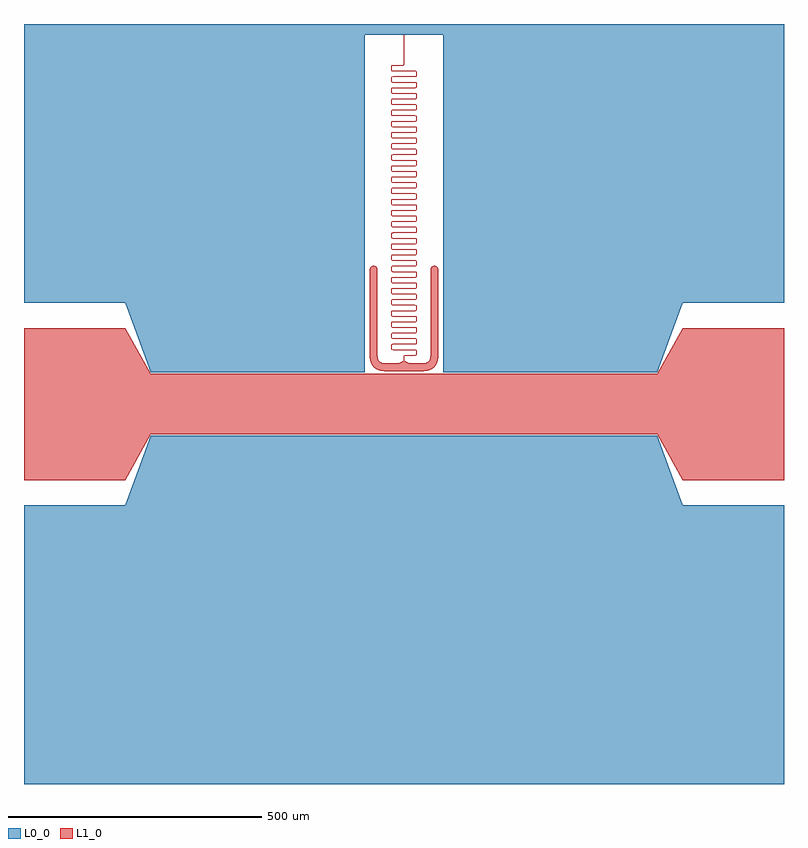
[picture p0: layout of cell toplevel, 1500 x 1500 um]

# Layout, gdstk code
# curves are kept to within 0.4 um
import gdstk
lib = gdstk.Library(unit=1e-6, precision=1e-09)
def P(c, l, *ps):  # polygons
    for p in ps: c.add(gdstk.Polygon(p, *l))
L0_0 = (0, 0)
L1_0 = (1, 0)

toplevel = lib.new_cell('toplevel')
P(toplevel, L0_0, [(77.5,729),(77.5,63),(500,63),(550,200),(750,200),(750,750),(-750,750),(-750,200),(-550,200),(-500,63),(-77.5,63),(-77.5,729)],
  [(750,-200),(550,-200),(500,-63),(-500,-63),(-550,-200),(-750,-200),(-750,-750),(750,-750)])
P(toplevel, L1_0, [(-60.327,272.493),(-63.17,271.797),(-65.53,270.067),(-67.048,267.565),(-67.5,265),(-67.466,96.294),(-66.361,86.299),(-63.309,78.269),(-59.261,72.96),(-54.07,69.101),(-47.508,66.466),(-39.74,65.199),(37.654,65.08),(46.853,66.295),(54.231,69.191),(59.678,73.38),(63.576,78.753),(66.164,85.484),(67.352,93.513),(67.5,265),(66.495,268.75),(63.17,271.797),(58.377,272.322),(54.47,270.067),(52.529,265.654),(52.486,97.498),(51.922,90.522),(50.334,85.8),(48.603,83.52),(46.053,81.837),(38.181,80.127),(-36.211,80.039),(-43.028,80.801),(-47.908,82.94),(-50.663,86.447),(-52.173,92.144),(-52.507,265.327),(-53.203,268.17),(-54.933,270.53),(-57.435,272.048)],
  [(0.5,85),(0.542,93.395),(0.892,94.54),(1.647,95.207),(3.309,95.498),(22.056,95.513),(23.416,95.743),(24.439,96.314),(25.209,97.449),(25.492,99.074),(25.462,104.413),(25.237,105.474),(24.782,106.322),(23.609,107.187),(21.852,107.495),(-22.765,107.601),(-23.43,107.83),(-23.923,108.208),(-24.254,108.752),(-24.442,109.48),(-24.486,115.057),(-24.353,115.956),(-24.056,116.621),(-23.194,117.275),(-21.742,117.497),(22.451,117.542),(23.855,117.925),(24.834,118.747),(25.365,119.971),(25.489,126.018),(25.257,127.416),(24.918,128.129),(24.422,128.7),(23.761,129.121),(22.951,129.382),(21.454,129.5),(-22.074,129.515),(-23.153,129.71),(-23.887,130.169),(-24.319,130.93),(-24.491,132.041),(-24.386,137.824),(-23.85,138.869),(-22.794,139.393),(-21.451,139.5),(22.262,139.525),(23.628,139.821),(24.627,140.496),(25.251,141.564),(25.49,143),(25.494,147.889),(25.3,149.281),(24.974,150.039),(24.488,150.642),(23.836,151.085),(23.009,151.37),(21.454,151.5),(-22.074,151.515),(-23.139,151.705),(-23.878,152.159),(-24.314,152.916),(-24.49,154.025),(-24.386,159.824),(-23.85,160.869),(-22.794,161.393),(-21.451,161.5),(22.262,161.525),(23.628,161.821),(24.627,162.496),(25.244,163.545),(25.489,164.982),(25.494,169.889),(25.3,171.281),(24.974,172.039),(24.488,172.642),(23.836,173.085),(23.009,173.37),(21.454,173.5),(-22.074,173.515),(-23.139,173.705),(-23.878,174.159),(-24.314,174.916),(-24.49,176.025),(-24.386,181.824),(-23.85,182.869),(-22.794,183.393),(-21.451,183.5),(22.262,183.525),(23.628,183.821),(24.627,184.496),(25.244,185.545),(25.488,186.963),(25.494,191.889),(25.3,193.281),(24.974,194.039),(24.488,194.642),(23.836,195.085),(23.009,195.37),(21.454,195.5),(-22.074,195.515),(-23.139,195.705),(-23.878,196.159),(-24.314,196.916),(-24.489,198.008),(-24.386,203.824),(-23.85,204.869),(-22.794,205.393),(-21.451,205.5),(22.262,205.525),(23.609,205.813),(24.612,206.48),(25.237,207.526),(25.487,208.944),(25.494,213.889),(25.3,215.281),(24.974,216.039),(24.488,216.642),(23.836,217.085),(23.009,217.37),(21.454,217.5),(-22.057,217.514),(-23.126,217.7),(-23.869,218.15),(-24.31,218.902),(-24.488,219.992),(-24.386,225.824),(-23.85,226.869),(-22.794,227.393),(-21.451,227.5),(22.262,227.525),(23.609,227.813),(24.612,228.48),(25.237,229.526),(25.486,230.926),(25.494,235.889),(25.3,237.281),(24.974,238.039),(24.488,238.642),(23.836,239.085),(23.009,239.37),(21.454,239.5),(-22.057,239.514),(-23.126,239.7),(-23.869,240.15),(-24.31,240.902),(-24.488,241.975),(-24.386,247.824),(-23.85,248.869),(-22.794,249.393),(-21.451,249.5),(22.243,249.524),(23.609,249.813),(24.597,250.465),(25.231,251.507),(25.485,252.907),(25.494,257.871),(25.3,259.281),(24.974,260.039),(24.488,260.642),(23.836,261.085),(23.009,261.37),(21.454,261.5),(-22.057,261.514),(-23.126,261.7),(-23.86,262.14),(-24.305,262.888),(-24.487,263.959),(-24.386,269.824),(-23.85,270.869),(-22.794,271.393),(-21.451,271.5),(22.243,271.524),(23.609,271.813),(24.597,272.465),(25.224,273.487),(25.484,274.888),(25.494,279.871),(25.3,281.281),(24.974,282.039),(24.488,282.642),(23.836,283.085),(23.009,283.37),(21.454,283.5),(-22.057,283.514),(-23.126,283.7),(-23.86,284.14),(-24.3,284.874),(-24.486,285.943),(-24.39,291.809),(-23.86,292.86),(-22.794,293.393),(-21.451,293.5),(22.243,293.524),(23.609,293.813),(24.597,294.465),(25.224,295.487),(25.483,296.87),(25.494,301.871),(25.306,303.261),(24.974,304.039),(24.488,304.642),(23.836,305.085),(23.009,305.37),(21.454,305.5),(-22.057,305.514),(-23.112,305.695),(-23.85,306.131),(-24.295,306.861),(-24.484,307.91),(-24.39,313.809),(-23.86,314.86),(-22.794,315.393),(-21.451,315.5),(22.243,315.524),(23.609,315.813),(24.597,316.465),(25.224,317.487),(25.482,318.851),(25.494,323.871),(25.306,325.261),(24.974,326.039),(24.488,326.642),(23.836,327.085),(23.009,327.37),(21.454,327.5),(-22.057,327.514),(-23.112,327.695),(-23.85,328.131),(-24.29,328.847),(-24.483,329.894),(-24.39,335.809),(-23.86,336.86),(-22.794,337.393),(-21.451,337.5),(22.243,337.524),(23.589,337.806),(24.582,338.449),(25.209,339.449),(25.48,340.814),(25.495,345.852),(25.306,347.261),(24.974,348.039),(24.488,348.642),(23.836,349.085),(23.009,349.37),(21.454,349.5),(-22.041,349.513),(-23.098,349.69),(-23.841,350.122),(-24.285,350.833),(-24.482,351.877),(-24.39,357.809),(-23.86,358.86),(-22.794,359.393),(-21.451,359.5),(22.243,359.524),(23.589,359.806),(24.582,360.449),(25.209,361.449),(25.479,362.795),(25.495,367.852),(25.306,369.261),(24.974,370.039),(24.488,370.642),(23.836,371.085),(23.009,371.37),(21.454,371.5),(-22.041,371.513),(-23.098,371.69),(-23.831,372.113),(-24.28,372.819),(-24.48,373.845),(-24.39,379.809),(-23.86,380.86),(-22.794,381.393),(-21.451,381.5),(22.224,381.523),(23.57,381.798),(24.567,382.433),(25.202,383.43),(25.476,384.757),(25.495,389.852),(25.306,391.261),(24.974,392.039),(24.488,392.642),(23.836,393.085),(23.009,393.37),(21.454,393.5),(-22.041,393.513),(-23.098,393.69),(-23.831,394.113),(-24.28,394.819),(-24.479,395.829),(-24.39,401.809),(-23.86,402.86),(-22.794,403.393),(-21.451,403.5),(22.224,403.523),(23.551,403.791),(24.551,404.418),(25.194,405.411),(25.475,406.738),(25.495,411.852),(25.306,413.261),(24.974,414.039),(24.488,414.642),(23.836,415.085),(23.009,415.37),(21.454,415.5),(-22.041,415.513),(-23.084,415.686),(-23.821,416.104),(-24.27,416.792),(-24.476,417.796),(-24.393,423.794),(-23.86,424.86),(-22.794,425.393),(-21.451,425.5),(22.224,425.523),(23.551,425.791),(24.551,426.418),(25.187,427.391),(25.472,428.701),(25.495,433.834),(25.311,435.242),(24.985,436.021),(24.488,436.642),(23.836,437.085),(23.009,437.37),(21.454,437.5),(-22.025,437.512),(-23.07,437.681),(-23.812,438.095),(-24.264,438.779),(-24.474,439.764),(-24.393,445.794),(-23.86,446.86),(-22.794,447.393),(-21.451,447.5),(22.224,447.523),(23.551,447.791),(24.535,448.403),(25.179,449.372),(25.469,450.663),(25.496,455.816),(25.311,457.242),(24.985,458.021),(24.488,458.642),(23.836,459.085),(23.009,459.37),(21.454,459.5),(-22.025,459.512),(-23.07,459.681),(-23.802,460.086),(-24.259,460.765),(-24.471,461.732),(-24.393,467.794),(-23.86,468.86),(-22.794,469.393),(-21.451,469.5),(22.205,469.521),(23.532,469.784),(24.52,470.388),(25.163,471.334),(25.464,472.606),(25.496,477.816),(25.311,479.242),(24.985,480.021),(24.488,480.642),(23.836,481.085),(23.009,481.37),(21.454,481.5),(-22.025,481.512),(-23.056,481.677),(-23.792,482.077),(-24.248,482.738),(-24.467,483.684),(-24.396,489.779),(-23.86,490.86),(-22.794,491.393),(-21.451,491.5),(22.205,491.521),(23.513,491.776),(24.504,492.373),(25.155,493.315),(25.46,494.568),(25.496,499.797),(25.317,501.223),(24.996,502.003),(24.504,502.627),(23.836,503.085),(23.009,503.37),(21.454,503.5),(-22.008,503.512),(-23.042,503.672),(-23.782,504.068),(-24.237,504.712),(-24.462,505.636),(-24.396,511.779),(-23.86,512.86),(-22.794,513.393),(-21.451,513.5),(22.186,513.52),(23.493,513.769),(24.488,514.358),(25.138,515.277),(25.454,516.511),(25.496,521.779),(25.317,523.223),(24.996,524.003),(24.504,524.627),(23.836,525.085),(23.009,525.37),(21.454,525.5),(-22.008,525.512),(-23.027,525.668),(-23.762,526.051),(-24.219,526.673),(-24.456,527.589),(-24.396,533.779),(-23.86,534.86),(-22.779,535.396),(22.186,535.52),(23.493,535.769),(24.471,536.343),(25.121,537.239),(25.445,538.434),(25.497,543.743),(25.322,545.203),(24.996,546.003),(24.504,546.627),(23.836,547.085),(23.009,547.37),(21.454,547.5),(-21.992,547.511),(-23.013,547.664),(-23.741,548.034),(-24.207,548.647),(-24.449,549.526),(-24.399,555.765),(-23.86,556.86),(-22.779,557.396),(22.168,557.519),(23.455,557.756),(24.439,558.314),(25.094,559.183),(25.435,560.358),(25.498,565.706),(25.327,567.184),(25.006,567.984),(24.52,568.612),(23.855,569.075),(23.029,569.365),(21.454,569.5),(-21.975,569.51),(-22.985,569.655),(-23.72,570.017),(-24.189,570.608),(-24.44,571.464),(-24.399,577.765),(-23.86,578.86),(-22.779,579.396),(-21.451,579.5),(22.149,579.518),(23.436,579.749),(24.406,580.286),(25.066,581.127),(25.421,582.261),(25.498,587.67),(25.332,589.165),(25.016,589.966),(24.52,590.612),(23.855,591.075),(23.029,591.365),(21.454,591.5),(-21.975,591.51),(-22.97,591.651),(-23.699,592),(-24.163,592.558),(-24.425,593.372),(-24.403,599.75),(-23.869,600.85),(-22.779,601.396),(-21.434,601.5),(22.13,601.517),(23.397,601.736),(24.356,602.245),(25.027,603.052),(25.401,604.146),(25.499,609.598),(25.337,611.145),(25.027,611.948),(24.535,612.597),(23.873,613.066),(23.029,613.365),(21.454,613.5),(-21.942,613.509),(-22.927,613.639),(-23.655,613.968),(-24.129,614.496),(-24.406,615.265),(-24.406,621.735),(-23.869,622.85),(-22.779,623.396),(-21.434,623.5),(22.112,623.516),(23.339,623.717),(24.305,624.205),(24.974,624.961),(25.37,625.991),(25.5,631.49),(25.342,633.126),(25.027,633.948),(24.535,634.597),(23.873,635.066),(23.029,635.365),(21.454,635.5),(-21.926,635.508),(-22.898,635.632),(-23.61,635.937),(-24.086,636.425),(-24.379,637.146),(-24.5,638.497),(-24.412,643.704),(-23.878,644.841),(-22.779,645.396),(-21.434,645.5),(22.074,645.514),(23.281,645.7),(24.218,646.141),(24.895,646.835),(25.322,647.797),(25.5,649.51),(25.495,653.852),(25.352,655.087),(25.037,655.929),(24.551,656.582),(23.873,657.066),(23.029,657.365),(21.454,657.5),(-21.892,657.507),(-22.839,657.617),(-23.54,657.892),(-24.016,658.323),(-24.332,658.973),(-24.497,660.275),(-24.451,665.458),(-24.071,666.598),(-23.288,667.237),(-21.674,667.498),(-2.587,667.538),(-1.584,667.743),(-0.782,668.141),(-0.179,668.73),(0.237,669.526),(0.5,671.51),(0.5,729),(-0.5,729),(-0.5,671.531),(-0.705,669.861),(-1,669.301),(-1.425,668.914),(-2.812,668.522),(-21.761,668.497),(-22.854,668.401),(-23.742,668.13),(-24.859,667.218),(-25.417,665.758),(-25.497,660.257),(-25.288,658.68),(-24.846,657.764),(-24.165,657.105),(-23.242,656.689),(-22.056,656.513),(22.779,656.396),(23.878,655.841),(24.414,654.689),(24.499,649.411),(24.357,648.059),(24.056,647.379),(23.575,646.914),(22.868,646.624),(21.909,646.508),(-21.454,646.5),(-23.029,646.365),(-23.873,646.066),(-24.551,645.582),(-25.037,644.929),(-25.347,644.106),(-25.5,642.348),(-25.495,638.148),(-25.352,636.913),(-24.941,635.906),(-24.27,635.179),(-23.32,634.712),(-22.093,634.515),(22.779,634.396),(23.878,633.841),(24.409,632.719),(24.5,627.566),(24.393,626.206),(24.108,625.46),(23.632,624.952),(22.912,624.635),(21.942,624.509),(-21.454,624.5),(-23.029,624.365),(-23.873,624.066),(-24.535,623.597),(-25.027,622.948),(-25.337,622.145),(-25.499,620.562),(-25.386,615.068),(-25.006,614.016),(-24.339,613.231),(-23.378,612.73),(-22.13,612.517),(22.779,612.396),(23.869,611.85),(24.406,610.735),(24.417,604.326),(24.15,603.533),(23.677,602.984),(22.956,602.647),(21.959,602.509),(-21.454,602.5),(-23.029,602.365),(-23.855,602.075),(-24.52,601.612),(-25.016,600.966),(-25.332,600.165),(-25.499,598.634),(-25.411,593.204),(-25.047,592.09),(-24.389,591.272),(-23.416,590.743),(-22.149,590.518),(22.779,590.396),(23.869,589.85),(24.403,588.75),(24.433,582.418),(24.176,581.583),(23.709,581.008),(22.985,580.655),(21.975,580.51),(-21.454,580.5),(-23.029,580.365),(-23.855,580.075),(-24.52,579.612),(-25.006,578.984),(-25.327,578.184),(-25.498,576.706),(-25.429,571.319),(-25.085,570.164),(-24.422,569.3),(-23.455,568.756),(-22.168,568.519),(22.779,568.396),(23.86,567.86),(24.399,566.765),(24.444,560.495),(24.201,559.634),(23.741,559.034),(23.013,558.664),(21.992,558.511),(-21.454,558.5),(-23.029,558.365),(-23.855,558.075),(-24.52,557.612),(-25.006,556.984),(-25.322,556.203),(-25.497,554.743),(-25.44,549.396),(-25.103,548.202),(-24.455,547.329),(-23.474,546.763),(-22.168,546.519),(22.779,546.396),(23.86,545.86),(24.396,544.779),(24.453,538.558),(24.213,537.66),(23.751,537.042),(23.013,536.664),(21.992,536.511),(-21.454,536.5),(-23.009,536.37),(-23.836,536.085),(-24.504,535.627),(-24.996,535.003),(-25.317,534.223),(-25.497,532.761),(-25.45,527.473),(-25.121,526.239),(-24.471,525.343),(-23.493,524.769),(-22.186,524.52),(22.779,524.396),(23.86,523.86),(24.396,522.779),(24.46,516.621),(24.231,515.699),(23.772,515.059),(23.042,514.672),(22.008,514.512),(-21.454,514.5),(-23.009,514.37),(-23.836,514.085),(-24.504,513.627),(-24.996,513.003),(-25.317,512.223),(-25.496,510.779),(-25.456,505.53),(-25.138,504.277),(-24.488,503.358),(-23.493,502.769),(-22.186,502.52),(22.779,502.396),(23.86,501.86),(24.393,500.794),(24.465,494.668),(24.242,493.725),(23.782,493.068),(23.042,492.672),(22.008,492.512),(-21.454,492.5),(-23.009,492.37),(-23.836,492.085),(-24.504,491.627),(-24.996,491.003),(-25.317,490.223),(-25.496,488.797),(-25.462,483.587),(-25.163,482.334),(-24.52,481.388),(-23.532,480.784),(-22.205,480.521),(21.451,480.5),(22.794,480.393),(23.86,479.86),(24.396,478.779),(24.468,472.7),(24.254,471.752),(23.802,471.086),(23.07,470.681),(22.025,470.512),(-21.454,470.5),(-23.009,470.37),(-23.836,470.085),(-24.488,469.642),(-24.985,469.021),(-25.311,468.242),(-25.496,466.816),(-25.467,461.644),(-25.171,460.353),(-24.52,459.388),(-23.532,458.784),(-22.205,458.521),(21.451,458.5),(22.794,458.393),(23.86,457.86),(24.393,456.794),(24.472,450.748),(24.259,449.765),(23.812,449.095),(23.07,448.681),(22.025,448.512),(-21.454,448.5),(-23.009,448.37),(-23.836,448.085),(-24.488,447.642),(-24.985,447.021),(-25.311,446.242),(-25.496,444.816),(-25.47,439.682),(-25.179,438.372),(-24.535,437.403),(-23.551,436.791),(-22.224,436.523),(21.451,436.5),(22.794,436.393),(23.86,435.86),(24.393,434.794),(24.475,428.78),(24.27,427.792),(23.821,427.104),(23.084,426.686),(22.025,426.512),(-21.454,426.5),(-23.009,426.37),(-23.836,426.085),(-24.488,425.642),(-24.985,425.021),(-25.311,424.242),(-25.495,422.834),(-25.473,417.72),(-25.187,416.391),(-24.551,415.418),(-23.551,414.791),(-22.224,414.523),(21.451,414.5),(22.794,414.393),(23.86,413.86),(24.393,412.794),(24.478,406.812),(24.275,405.806),(23.831,405.113),(23.098,404.69),(22.041,404.513),(-21.454,404.5),(-23.009,404.37),(-23.836,404.085),(-24.488,403.642),(-24.974,403.039),(-25.306,402.261),(-25.495,400.852),(-25.476,395.757),(-25.202,394.43),(-24.567,393.433),(-23.57,392.798),(-22.224,392.523),(21.451,392.5),(22.794,392.393),(23.86,391.86),(24.39,390.809),(24.479,384.829),(24.28,383.819),(23.831,383.113),(23.098,382.69),(22.041,382.513),(-21.454,382.5),(-23.009,382.37),(-23.836,382.085),(-24.488,381.642),(-24.974,381.039),(-25.306,380.261),(-25.495,378.852),(-25.477,373.776),(-25.202,372.43),(-24.567,371.433),(-23.57,370.798),(-22.224,370.523),(21.451,370.5),(22.794,370.393),(23.86,369.86),(24.39,368.809),(24.481,362.861),(24.285,361.833),(23.841,361.122),(23.098,360.69),(22.041,360.513),(-21.454,360.5),(-23.009,360.37),(-23.836,360.085),(-24.488,359.642),(-24.974,359.039),(-25.306,358.261),(-25.495,356.852),(-25.48,351.814),(-25.209,350.449),(-24.582,349.449),(-23.589,348.806),(-22.243,348.524),(21.451,348.5),(22.794,348.393),(23.86,347.86),(24.39,346.809),(24.483,340.894),(24.29,339.847),(23.85,339.131),(23.112,338.695),(22.057,338.514),(-21.454,338.5),(-23.009,338.37),(-23.836,338.085),(-24.488,337.642),(-24.974,337.039),(-25.306,336.261),(-25.495,334.852),(-25.481,329.832),(-25.216,328.468),(-24.582,327.449),(-23.589,326.806),(-22.243,326.524),(21.451,326.5),(22.794,326.393),(23.86,325.86),(24.39,324.809),(24.484,318.91),(24.295,317.861),(23.85,317.131),(23.112,316.695),(22.057,316.514),(-21.454,316.5),(-23.009,316.37),(-23.836,316.085),(-24.488,315.642),(-24.974,315.039),(-25.306,314.261),(-25.494,312.871),(-25.482,307.851),(-25.224,306.487),(-24.597,305.465),(-23.609,304.813),(-22.243,304.524),(21.451,304.5),(22.794,304.393),(23.86,303.86),(24.39,302.809),(24.485,296.926),(24.3,295.874),(23.86,295.14),(23.126,294.7),(22.057,294.514),(-21.454,294.5),(-23.009,294.37),(-23.836,294.085),(-24.488,293.642),(-24.974,293.039),(-25.3,292.281),(-25.494,290.871),(-25.484,285.888),(-25.224,284.487),(-24.597,283.465),(-23.609,282.813),(-22.243,282.524),(21.451,282.5),(22.794,282.393),(23.86,281.86),(24.39,280.809),(24.486,274.943),(24.3,273.874),(23.86,273.14),(23.126,272.7),(22.057,272.514),(-21.454,272.5),(-23.009,272.37),(-23.836,272.085),(-24.488,271.642),(-24.974,271.039),(-25.3,270.281),(-25.494,268.871),(-25.485,263.907),(-25.231,262.507),(-24.597,261.465),(-23.609,260.813),(-22.243,260.524),(21.451,260.5),(22.794,260.393),(23.85,259.869),(24.386,258.824),(24.487,252.959),(24.305,251.888),(23.86,251.14),(23.126,250.7),(22.057,250.514),(-21.454,250.5),(-23.009,250.37),(-23.836,250.085),(-24.488,249.642),(-24.974,249.039),(-25.3,248.281),(-25.494,246.889),(-25.486,241.926),(-25.237,240.526),(-24.612,239.48),(-23.609,238.813),(-22.262,238.525),(21.451,238.5),(22.794,238.393),(23.85,237.869),(24.386,236.824),(24.488,230.975),(24.31,229.902),(23.869,229.15),(23.126,228.7),(22.057,228.514),(-21.454,228.5),(-23.009,228.37),(-23.836,228.085),(-24.488,227.642),(-24.974,227.039),(-25.3,226.281),(-25.494,224.889),(-25.487,219.944),(-25.237,218.526),(-24.612,217.48),(-23.609,216.813),(-22.262,216.525),(21.451,216.5),(22.794,216.393),(23.85,215.869),(24.386,214.824),(24.488,208.992),(24.31,207.902),(23.869,207.15),(23.126,206.7),(22.057,206.514),(-21.454,206.5),(-23.009,206.37),(-23.836,206.085),(-24.488,205.642),(-24.974,205.039),(-25.3,204.281),(-25.494,202.889),(-25.488,197.963),(-25.244,196.545),(-24.627,195.496),(-23.628,194.821),(-22.262,194.525),(21.451,194.5),(22.794,194.393),(23.85,193.869),(24.386,192.824),(24.489,187.008),(24.314,185.916),(23.878,185.159),(23.139,184.705),(22.074,184.515),(-21.454,184.5),(-23.009,184.37),(-23.836,184.085),(-24.488,183.642),(-24.974,183.039),(-25.3,182.281),(-25.494,180.889),(-25.488,175.963),(-25.244,174.545),(-24.627,173.496),(-23.628,172.821),(-22.262,172.525),(21.451,172.5),(22.794,172.393),(23.85,171.869),(24.386,170.824),(24.49,165.025),(24.314,163.916),(23.878,163.159),(23.139,162.705),(22.074,162.515),(-21.454,162.5),(-23.009,162.37),(-23.836,162.085),(-24.488,161.642),(-24.974,161.039),(-25.3,160.281),(-25.494,158.889),(-25.489,153.982),(-25.244,152.545),(-24.627,151.496),(-23.628,150.821),(-22.262,150.525),(21.451,150.5),(22.794,150.393),(23.85,149.869),(24.386,148.824),(24.491,143.041),(24.319,141.93),(23.887,141.169),(23.153,140.71),(22.074,140.515),(-21.454,140.5),(-23.009,140.37),(-23.836,140.085),(-24.488,139.642),(-24.974,139.039),(-25.3,138.281),(-25.494,136.889),(-25.49,132),(-25.251,130.564),(-24.627,129.496),(-23.628,128.821),(-22.262,128.525),(22.75,128.403),(23.812,127.905),(24.365,126.912),(24.495,125.826),(24.5,121.74),(24.412,120.296),(24.048,119.368),(23.353,118.793),(22.284,118.53),(-21.871,118.494),(-23.685,118.155),(-24.373,117.742),(-24.883,117.183),(-25.294,116.3),(-25.479,115.205),(-25.411,109.204),(-25.13,108.258),(-24.642,107.512),(-23.948,106.973),(-23.068,106.644),(-21.472,106.5),(21.758,106.497),(23.139,106.295),(24,105.699),(24.328,105.042),(24.48,104.155),(24.475,98.78),(24.115,97.472),(23.275,96.758),(21.657,96.502),(2.963,96.488),(1.603,96.264),(0.594,95.714),(-0.121,94.761),(-0.46,93.432),(-0.5,85)],
  [(10,80),(0.5,85),(-0.5,85),(-10,80)],
  [(-500,60),(-550,150),(-750,150),(-750,-150),(-550,-150),(-500,-60),(500,-60),(550,-150),(750,-150),(750,150),(550,150),(500,60)])

lib.write_gds('toplevel.gds')
